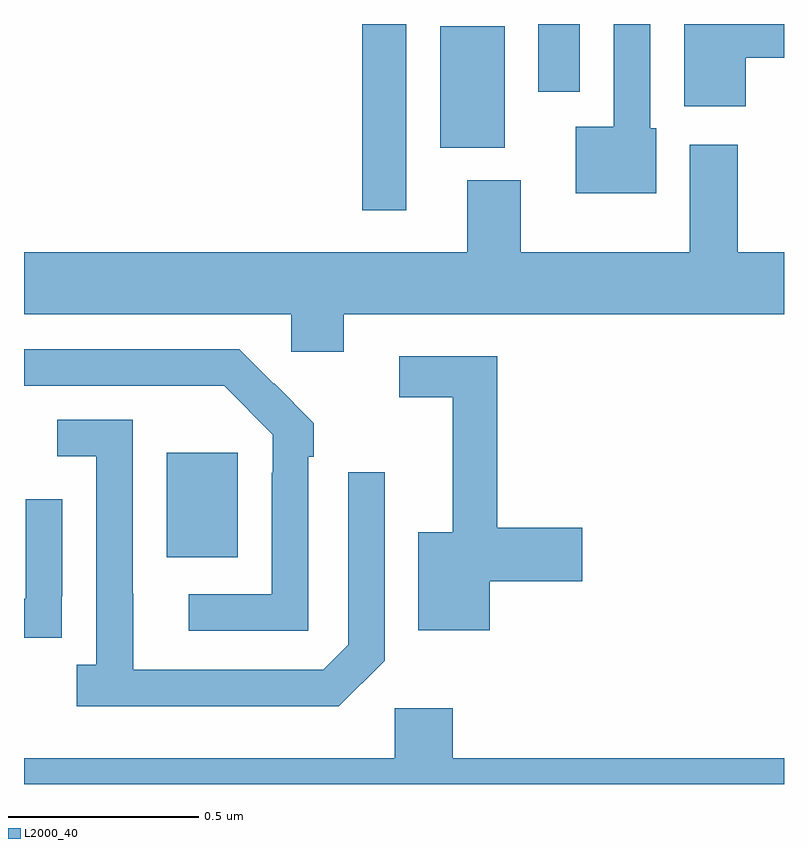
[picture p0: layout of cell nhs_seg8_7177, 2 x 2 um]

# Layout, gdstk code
import gdstk
lib = gdstk.Library(unit=1e-6, precision=1e-09)
def R(c, l, rs):  # rectangles x0, y0, x1, y1
    for r in rs: c.add(gdstk.rectangle(r[:2], r[2:], *l))
def P(c, l, *ps):  # polygons
    for p in ps: c.add(gdstk.Polygon(p, *l))
L2000_40 = (2000, 40)

nhs_seg8_7177 = lib.new_cell('nhs_seg8_7177')
R(nhs_seg8_7177, L2000_40, [(206.375,1146.497,206.563,1146.772), (206.89,1147.41,207.006,1147.9), (207.095,1147.574,207.265,1147.894), (207.353,1147.722,207.463,1147.9)])
P(nhs_seg8_7177, L2000_40, [(207.664,1147.626),(207.648,1147.626),(207.648,1147.9),(207.552,1147.9),(207.552,1147.63),(207.452,1147.63),(207.452,1147.454),(207.664,1147.454)],
  [(207.899,1147.811),(208,1147.811),(208,1147.9),(207.737,1147.9),(207.737,1147.683),(207.899,1147.683)],
  [(206.842,1147.136),(208,1147.136),(208,1147.3),(207.878,1147.3),(207.878,1147.582),(207.752,1147.582),(207.752,1147.3),(207.307,1147.3),(207.307,1147.489),(207.167,1147.489),(207.167,1147.3),(206,1147.3),(206,1147.136),(206.703,1147.136),(206.703,1147.038),(206.842,1147.038)],
  [(206.748,1146.761),(206.763,1146.761),(206.763,1146.849),(206.658,1146.954),(206.657,1146.953),(206.566,1147.044),(206,1147.044),(206,1146.948),(206.527,1146.948),(206.655,1146.819),(206.655,1146.719),(206.652,1146.719),(206.652,1146.399),(206.433,1146.399),(206.433,1146.303),(206.748,1146.303)],
  [(207.226,1146.433),(207.469,1146.433),(207.469,1146.575),(207.245,1146.575),(207.245,1147.026),(206.988,1147.026),(206.988,1146.918),(207.128,1146.918),(207.128,1146.562),(207.038,1146.562),(207.038,1146.305),(207.226,1146.305)],
  [(206.949,1146.225),(206.949,1146.721),(206.853,1146.721),(206.853,1146.267),(206.787,1146.201),(206.287,1146.201),(206.287,1146.401),(206.286,1146.401),(206.286,1146.858),(206.088,1146.858),(206.088,1146.762),(206.19,1146.762),(206.19,1146.214),(206.139,1146.214),(206.139,1146.104),(206.828,1146.104)],
  [(206.099,1146.394),(206.1,1146.394),(206.1,1146.649),(206.004,1146.649),(206.004,1146.387),(206,1146.387),(206,1146.285),(206.099,1146.285)],
  [(208,1145.968),(207.128,1145.968),(207.128,1146.1),(206.976,1146.1),(206.976,1145.968),(206,1145.968),(206,1145.9),(208,1145.9)])

lib.write_gds('nhs_seg8_7177.gds')
